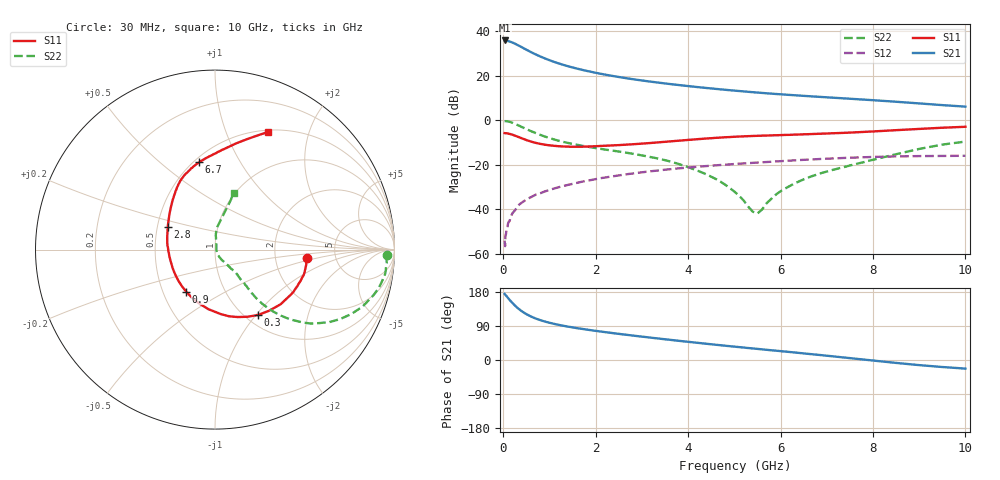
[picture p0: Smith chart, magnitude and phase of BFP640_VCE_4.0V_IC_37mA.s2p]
! Infineon Technologies  Discrete & RF Semiconductors
! BFP640
! VCE =  4.0 V,  IC =  37 mA
! Common Emitter S-Parameters:  Apr 2013
# GHz  S  MA  R  50
!  f  S11  S21  S12  S22
! GHz  MAG  ANG  MAG  ANG  MAG  ANG  MAG  ANG
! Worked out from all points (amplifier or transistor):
!   99 points, 30 MHz to 10 GHz, reference 50 ohm
!   highest |S21| = 35.9 dB at 30 MHz (marker M1)
!   |S21| within 3 dB of that: start of sweep to 397.6 MHz
!   unconditionally stable (mu >= 1): 1.998 GHz to end of sweep
!   at 350 MHz: K = 0.45, MSG = 35.6 dB, |S12| = -37.7 dB
!   at 3.5 GHz: K = 1.05, MAG = 17.9 dB, |S12| = -22.1 dB
!   at 10 GHz: K = 1.06, MAG = 9.5 dB, |S12| = -15.9 dB
!   S11 on the Smith chart (normalised r, x): 30 MHz: 3.08, -0.39; 300 MHz: 1.14, -1.02; 900 MHz: 0.66, -0.33; 2.8 GHz: 0.57, +0.15; 6.7 GHz: 0.53, +0.68; 10 GHz: 0.52, +1.41
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0.03  0.5167 -5.2  62.19 174.4  0.002 60.9  0.9561 -1.7
0.07  0.5147 -14.1  61.41 168.7  0.0035 79.8  0.9586 -6.9
0.11  0.5034 -22.3  60.19 162.8  0.005 75.5  0.9431 -11.7
0.15  0.4926 -30.2  58.39 157.1  0.0063 79.3  0.9186 -16.1
0.2  0.4761 -39.7  55.78 150.4  0.0083 71.4  0.8816 -21.1
0.25  0.4549 -48.5  52.95 144.1  0.0094 71.3  0.84 -25.3
0.3  0.436 -56.7  49.81 138.5  0.0113 71.1  0.7967 -29.1
0.35  0.4154 -64.3  46.76 133.5  0.013 68.8  0.7542 -32.4
0.45  0.3794 -78.2  41.14 124.8  0.0154 66.9  0.6752 -37.6
0.6  0.3343 -96.2  34.08 114.8  0.0189 66.0  0.5733 -42.8
0.7  0.3125 -106.5  30.33 109.6  0.0214 64.5  0.5195 -45.1
0.9  0.2839 -124.4  24.63 101.5  0.0254 63.5  0.4335 -48.0
1.2  0.2629 -145.6  18.98 92.7  0.0316 62.2  0.349 -49.7
1.7  0.2566 -171.1  13.67 82.2  0.0419 59.7  0.27 -49.2
2.2  0.269 171.2  10.66 73.6  0.052 56.6  0.2217 -49.3
2.8  0.2907 154.6  8.419 64.5  0.0641 52.1  0.1781 -48.2
3.4  0.324 141.3  6.946 56.1  0.0759 47.2  0.1349 -50.0
5.1  0.4329 115.8  4.56 34.1  0.1064 32.5  0.0204 -56.3
5.5  0.4499 111.8  4.208 29.3  0.113 29.1  0.0081 14.1
6.7  0.4945 100.3  3.445 15.0  0.1331 18.4  0.0568 84.3
8.5  0.6024 78.9  2.617 -7.7  0.1553 0.3  0.1739 78.5
10  0.7179 65.8  2.033 -22.7  0.1602 -11.8  0.3342 71.9
